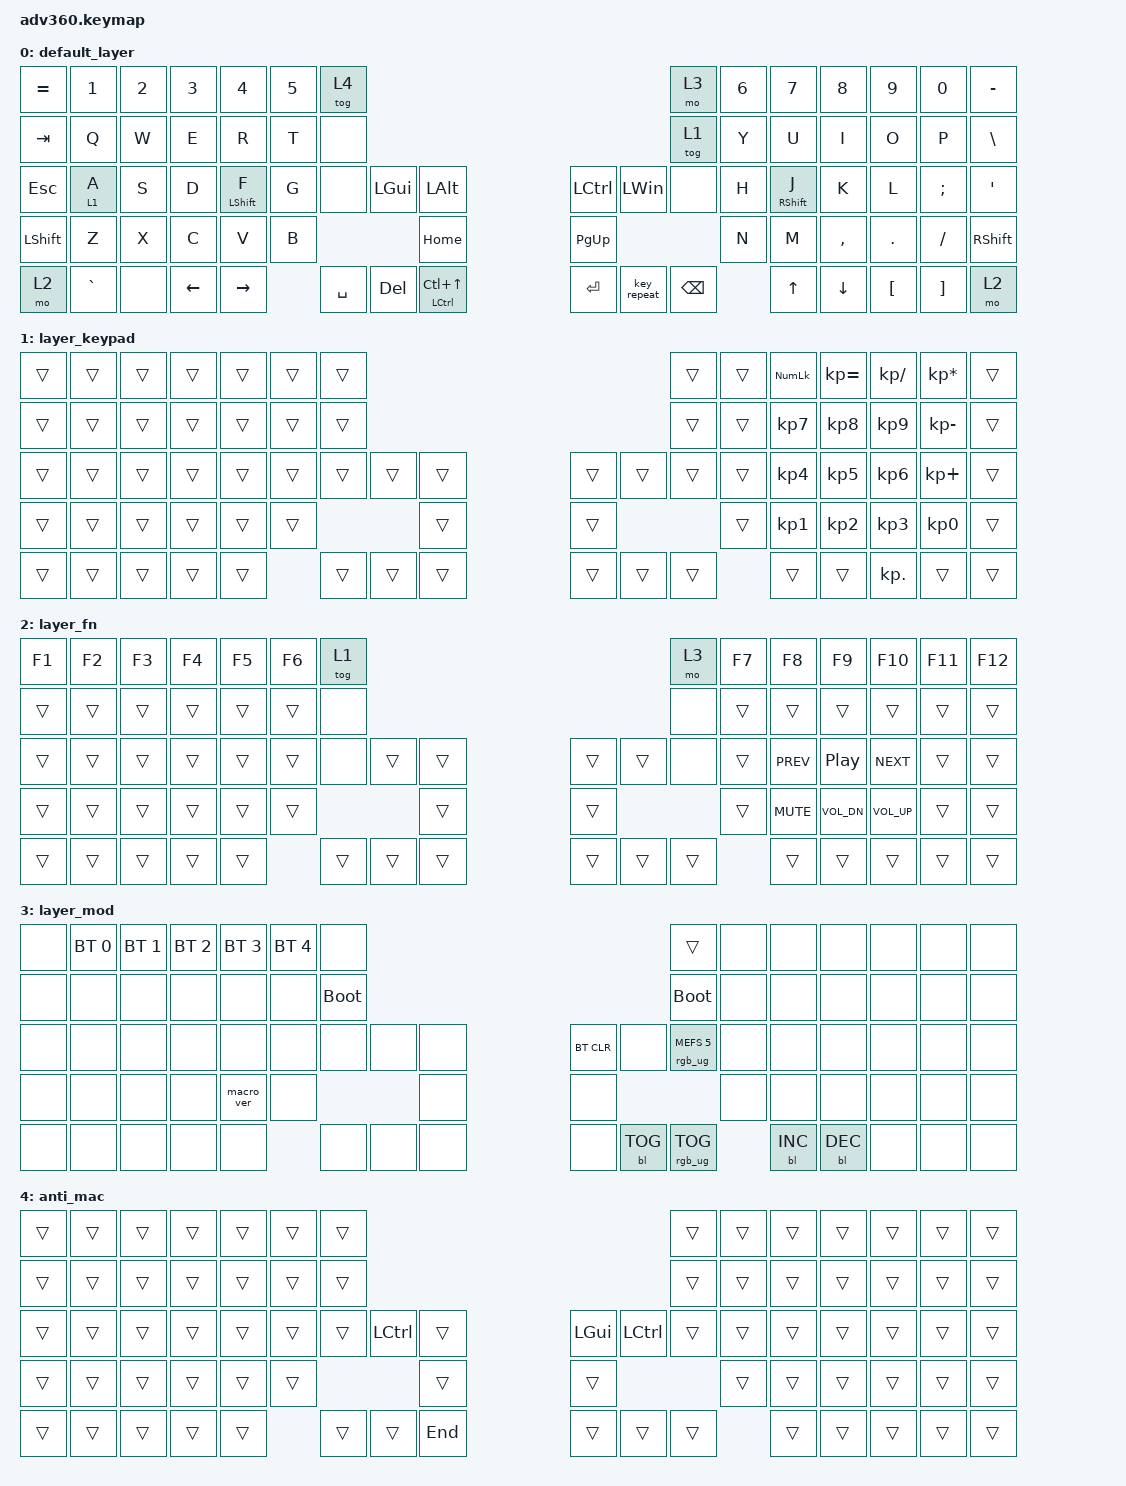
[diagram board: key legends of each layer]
/*
 * Copyright (c) 2020 The ZMK Contributors
 *
 * SPDX-License-Identifier: MIT
 */
/* THIS FILE WAS GENERATED!
 *
 * This file was generated automatically. You may or may not want to
 * edit it directly.
 */

#include <behaviors.dtsi>
#include <dt-bindings/zmk/backlight.h>
#include <dt-bindings/zmk/bt.h>
#include <dt-bindings/zmk/keys.h>
#include <dt-bindings/zmk/rgb.h>

/ {
    behaviors {
        #include "macros.dtsi"
    #include "version.dtsi"

        hm: homerow_mods {
            compatible = "zmk,behavior-hold-tap";
            label = "HOMEROW_MODS";
            #binding-cells = <2>;
            tapping-term-ms = <200>;
            quick_tap_ms = <175>;
            flavor = "tap-preferred";
            bindings = <&kp>, <&kp>;
        };
    };

    macros {
        logout_mac: logout_mac {
            compatible = "zmk,behavior-macro";
            #binding-cells = <0>;
            bindings = <&kp Q &kp LEFT_CONTROL &kp LEFT_SHIFT>;
            label = "LOGOUT_MAC";
        };
    };

    keymap {
        compatible = "zmk,keymap";

        default_layer {
            bindings = <
&kp EQUAL  &kp N1     &kp N2  &kp N3    &kp N4            &kp N5  &tog 4                                                                   &mo 3          &kp N6  &kp N7             &kp N8     &kp N9    &kp N0    &kp MINUS
&kp TAB    &kp Q      &kp W   &kp E     &kp R             &kp T   &none                                                                    &tog 1         &kp Y   &kp U              &kp I      &kp O     &kp P     &kp BSLH
&kp ESC    &lt 1 A    &kp S   &kp D     &mt LEFT_SHIFT F  &kp G   &none      &kp LGUI  &kp LALT                    &kp LCTRL  &kp LWIN     &none          &kp H   &mt RIGHT_SHIFT J  &kp K      &kp L     &kp SEMI  &kp SQT
&kp LSHFT  &kp Z      &kp X   &kp C     &kp V             &kp B                        &kp HOME                    &kp PG_UP                              &kp N   &kp M              &kp COMMA  &kp DOT   &kp FSLH  &kp RSHFT
&mo 2      &kp GRAVE  &none   &kp LEFT  &kp RIGHT                 &kp SPACE  &kp DEL   &mt LCTRL LC(UP_ARROW)      &kp ENTER  &key_repeat  &kp BACKSPACE          &kp UP             &kp DOWN   &kp LBKT  &kp RBKT  &mo 2
            >;
        };

        layer_keypad {
            bindings = <
&trans  &trans  &trans  &trans  &trans  &trans  &trans                                      &trans  &trans  &kp KP_NUM  &kp KP_EQUAL  &kp KP_DIVIDE  &kp KP_MULTIPLY  &trans
&trans  &trans  &trans  &trans  &trans  &trans  &trans                                      &trans  &trans  &kp KP_N7   &kp KP_N8     &kp KP_N9      &kp KP_MINUS     &trans
&trans  &trans  &trans  &trans  &trans  &trans  &trans  &trans  &trans      &trans  &trans  &trans  &trans  &kp KP_N4   &kp KP_N5     &kp KP_N6      &kp KP_PLUS      &trans
&trans  &trans  &trans  &trans  &trans  &trans                  &trans      &trans                  &trans  &kp KP_N1   &kp KP_N2     &kp KP_N3      &kp KP_NUMBER_0  &trans
&trans  &trans  &trans  &trans  &trans          &trans  &trans  &trans      &trans  &trans  &trans          &trans      &trans        &kp KP_DOT     &trans           &trans
            >;
        };

        layer_fn {
            bindings = <
&kp F1  &kp F2  &kp F3  &kp F4  &kp F5  &kp F6  &tog 1                                      &mo 3   &kp F7  &kp F8      &kp F9            &kp F10       &kp F11  &kp F12
&trans  &trans  &trans  &trans  &trans  &trans  &none                                       &none   &trans  &trans      &trans            &trans        &trans   &trans
&trans  &trans  &trans  &trans  &trans  &trans  &none   &trans  &trans      &trans  &trans  &none   &trans  &kp C_PREV  &kp C_PLAY_PAUSE  &kp C_NEXT    &trans   &trans
&trans  &trans  &trans  &trans  &trans  &trans                  &trans      &trans                  &trans  &kp C_MUTE  &kp C_VOL_DN      &kp C_VOL_UP  &trans   &trans
&trans  &trans  &trans  &trans  &trans          &trans  &trans  &trans      &trans  &trans  &trans          &trans      &trans            &trans        &trans   &trans
            >;
        };

        layer_mod {
            bindings = <
&none  &bt BT_SEL 0  &bt BT_SEL 1  &bt BT_SEL 2  &bt BT_SEL 3  &bt BT_SEL 4  &none                                                  &trans                  &none  &none       &none       &none  &none  &none
&none  &none         &none         &none         &none         &none         &bootloader                                            &bootloader             &none  &none       &none       &none  &none  &none
&none  &none         &none         &none         &none         &none         &none        &none  &none      &bt BT_CLR  &none       &rgb_ug RGB_MEFS_CMD 5  &none  &none       &none       &none  &none  &none
&none  &none         &none         &none         &macro_ver    &none                             &none      &none                                           &none  &none       &none       &none  &none  &none
&none  &none         &none         &none         &none                       &none        &none  &none      &none       &bl BL_TOG  &rgb_ug RGB_TOG                &bl BL_INC  &bl BL_DEC  &none  &none  &none
            >;
        };

        anti_mac {
            bindings = <
&trans  &trans  &trans  &trans  &trans  &trans  &trans                                               &trans  &trans  &trans  &trans  &trans  &trans  &trans
&trans  &trans  &trans  &trans  &trans  &trans  &trans                                               &trans  &trans  &trans  &trans  &trans  &trans  &trans
&trans  &trans  &trans  &trans  &trans  &trans  &trans  &kp LCTRL  &trans       &kp LGUI  &kp LCTRL  &trans  &trans  &trans  &trans  &trans  &trans  &trans
&trans  &trans  &trans  &trans  &trans  &trans                     &trans       &trans                       &trans  &trans  &trans  &trans  &trans  &trans
&trans  &trans  &trans  &trans  &trans          &trans  &trans     &kp END      &trans    &trans     &trans          &trans  &trans  &trans  &trans  &trans
            >;
        };
    };
};
